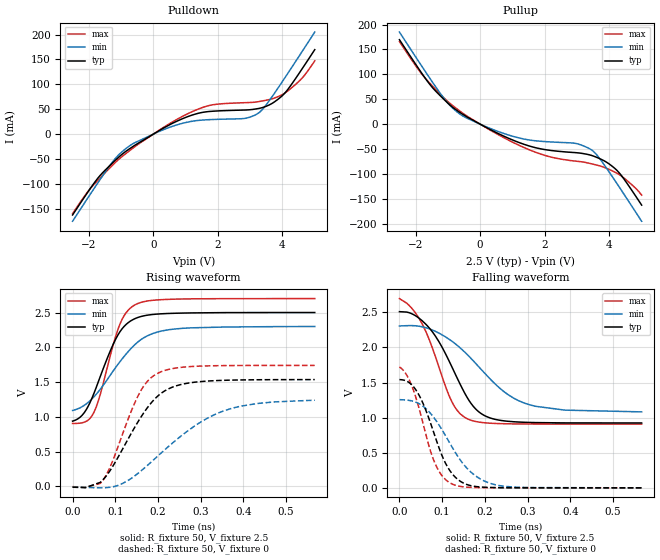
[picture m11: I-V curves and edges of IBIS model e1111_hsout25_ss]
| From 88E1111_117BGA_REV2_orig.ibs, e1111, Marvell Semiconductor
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|   Model e1111_hsout25_ss
[Model]   e1111_hsout25_ss
Model_type   Output
Polarity   Non-Inverting
Enable   Active-High
Vmeas =   1.2500V
Cref =  5.0000pF
Rref =  50.0000
Vref =   1.2500V
|   Typ   Min   Max
C_comp   1.179p   1.088p   1.287p
[Temperature Range]   25   125   0
[Voltage Range]   2.500   2.300   2.700
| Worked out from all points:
|   slope of the pulldown table from 0 to 0.375 V, typ, clamps not added: 26.3 ohm
|   slope of the pullup table from 0 to 0.375 V, typ, clamps not added: 29.1 ohm
|   rising waveform, R_fixture 50, V_fixture 2.5: 20-80 % time 63.2ps typ, 92.8ps min, 49.5ps max; typ from 0.938 V to 2.5 V
|   falling waveform, R_fixture 50, V_fixture 2.5: 20-80 % time 82.6ps typ, 126ps min, 66.8ps max; typ from 2.51 V to 0.924 V
|   rising waveform, R_fixture 50, V_fixture 0: 20-80 % time 92.7ps typ, 155ps min, 68.8ps max; typ from -0.012 V to 1.53 V
|   falling waveform, R_fixture 50, V_fixture 0: 20-80 % time 58.6ps typ, 82.4ps min, 50ps max; typ from 1.54 V to 0 V
[Pullup]
|   I(typ)   I(min)   I(max)
-2.5V     169.6mA    185mA      166mA
-1.562V   80.15mA    92.52mA    82.36mA
-1.094V   47.99mA    49.51mA    50.98mA
-703.1mV  26.84mA    23.99mA    29.95mA
312.5mV   -10.82mA   -8.604mA   -12mA
1.406V    -41.5mA    -30.5mA    -48.32mA
2.188V    -52.78mA   -35.69mA   -65.96mA
2.969V    -57.29mA   -38.77mA   -74.35mA
3.438V    -62.54mA   -51.18mA   -79.48mA
3.672V    -68.45mA   -66.67mA   -83.22mA
4.219V    -91.71mA   -117.7mA   -97.9mA
5V        -162.5mA   -195mA     -142.5mA
[Pulldown]
|   I(typ)   I(min)   I(max)
-2.5V     -162.3mA   -174.9mA   -159.6mA
-1.641V   -82.49mA   -90.5mA    -87.55mA
-1.094V   -47.58mA   -43mA      -51.88mA
-625mV    -24.59mA   -19.01mA   -27.76mA
546.9mV   20.18mA    14.71mA    22.73mA
1.484V    43.22mA    28.12mA    52.6mA
2.812V    48.4mA     31.43mA    63.14mA
3.281V    51.77mA    43.43mA    65.52mA
3.672V    61.47mA    74.62mA    70.8mA
4.062V    81.63mA    112mA      82.06mA
4.609V    131.3mA    166mA      112.6mA
5V        169.7mA    205mA      147.1mA
[Ramp]
| variable   typ   min   max
dV/dt_r   0.933/92.97p   0.764/158.54p   1.053/69.22p
dV/dt_f   0.952/82.71p   0.738/126.55p   1.081/67.50p
R_load  =   50
[Rising Waveform]
R_fixture = 50
V_fixture = 2.5
V_fixture_min = 2.3
V_fixture_max = 2.7
|   V(typ)   V(min)   V(max)
0s        938mV      1.092V     903.9mV
27ps      1.057V     1.163V     922.2mV
50ps      1.337V     1.287V     1.065V
65ps      1.582V     1.397V     1.325V
110ps     2.214V     1.785V     2.319V
126ps     2.332V     1.907V     2.502V
146ps     2.412V     2.038V     2.61V
183ps     2.468V     2.186V     2.672V
238ps     2.489V     2.262V     2.692V
567ps     2.5V       2.299V     2.7V
[Falling Waveform]
R_fixture = 50
V_fixture = 2.5
V_fixture_min = 2.3
V_fixture_max = 2.7
|   V(typ)   V(min)   V(max)
0s        2.51V      2.306V     2.696V
38ps      2.45V      2.308V     2.487V
73ps      2.254V     2.258V     2.06V
123ps     1.721V     2.088V     1.224V
158ps     1.293V     1.903V     986.6mV
182ps     1.103V     1.75V      941.1mV
207ps     1.008V     1.585V     923.1mV
253ps     948.5mV    1.333V     912.4mV
302ps     931.9mV    1.188V     909.5mV
567ps     923.9mV    1.082V     908.4mV
[Rising Waveform]
R_fixture = 50
V_fixture = 0
V_fixture_min = 0
V_fixture_max = 0
|   V(typ)   V(min)   V(max)
0s        -12.21mV   -7.679mV   -4.263mV
30ps      -18.51mV   -15.46mV   -16.31mV
71ps      93.5mV     -20.64mV   84.86mV
112ps     479.3mV    28.01mV    665.8mV
155ps     946.2mV    195.9mV    1.321V
176ps     1.138V     305.6mV    1.515V
202ps     1.312V     449.6mV    1.634V
253ps     1.463V     719.5mV    1.71V
353ps     1.525V     1.083V     1.736V
567ps     1.535V     1.239V     1.739V
[Falling Waveform]
R_fixture = 50
V_fixture = 0
V_fixture_min = 0
V_fixture_max = 0
|   V(typ)   V(min)   V(max)
0s        1.542V     1.256V     1.722V
23ps      1.498V     1.245V     1.538V
43ps      1.352V     1.208V     1.195V
68ps      1.005V     1.093V     621.1mV
83ps      739.7mV    981.3mV    351.8mV
103ps     412.8mV    793.1mV    148mV
123ps     204.3mV    583.7mV    55.24mV
168ps     29.83mV    220.3mV    6.6mV
227ps     3.718mV    40.42mV    964.2uV
567ps     40.56uV    98.65uV    39.04uV
